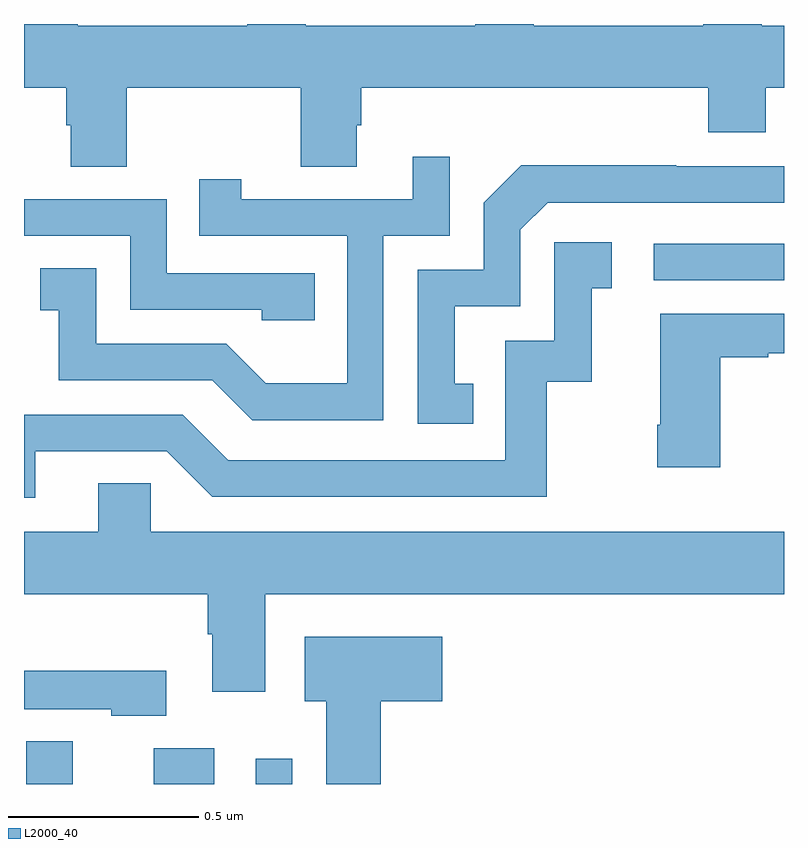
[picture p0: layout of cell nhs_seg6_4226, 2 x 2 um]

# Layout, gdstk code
import gdstk
lib = gdstk.Library(unit=1e-6, precision=1e-09)
def R(c, l, rs):  # rectangles x0, y0, x1, y1
    for r in rs: c.add(gdstk.rectangle(r[:2], r[2:], *l))
def P(c, l, *ps):  # polygons
    for p in ps: c.add(gdstk.Polygon(p, *l))
L2000_40 = (2000, 40)

nhs_seg6_4226 = lib.new_cell('nhs_seg6_4226')
R(nhs_seg6_4226, L2000_40, [(167.006,949.5,167.128,949.612), (167.342,949.5,167.5,949.594), (167.61,949.5,167.706,949.567), (168.657,950.826,169,950.922)])
P(nhs_seg6_4226, L2000_40, [(167.271,951.332),(167.728,951.332),(167.728,951.124),(167.875,951.124),(167.875,951.234),(167.888,951.234),(167.888,951.332),(168.8,951.332),(168.8,951.215),(168.952,951.215),(168.952,951.332),(169,951.332),(169,951.496),(168.942,951.496),(168.942,951.5),(168.787,951.5),(168.787,951.496),(168.342,951.496),(168.342,951.5),(168.187,951.5),(168.187,951.496),(167.742,951.496),(167.742,951.5),(167.587,951.5),(167.587,951.496),(167.142,951.496),(167.142,951.5),(167,951.5),(167,951.332),(167.111,951.332),(167.111,951.234),(167.123,951.234),(167.123,951.124),(167.271,951.124)],
  [(167.946,950.943),(168.12,950.943),(168.12,951.151),(168.023,951.151),(168.023,951.039),(167.572,951.039),(167.572,951.091),(167.461,951.091),(167.461,950.943),(167.85,950.943),(167.85,950.554),(167.636,950.554),(167.532,950.658),(167.19,950.658),(167.19,950.857),(167.043,950.857),(167.043,950.747),(167.092,950.747),(167.092,950.562),(167.495,950.562),(167.6,950.457),(167.946,950.457)],
  [(168.182,950.553),(168.133,950.553),(168.133,950.757),(168.306,950.757),(168.306,950.958),(168.378,951.03),(169,951.03),(169,951.126),(168.716,951.126),(168.716,951.128),(168.308,951.128),(168.21,951.03),(168.21,950.853),(168.036,950.853),(168.036,950.448),(168.182,950.448)],
  [(167.765,950.844),(167.376,950.844),(167.376,951.039),(167,951.039),(167,950.943),(167.28,950.943),(167.28,950.748),(167.625,950.748),(167.625,950.721),(167.765,950.721)],
  [(167.029,950.376),(167.376,950.376),(167.496,950.256),(168.376,950.256),(168.376,950.559),(168.494,950.559),(168.494,950.805),(168.547,950.805),(168.547,950.926),(168.396,950.926),(168.396,950.667),(168.267,950.667),(168.267,950.352),(167.538,950.352),(167.418,950.472),(167,950.472),(167,950.253),(167.029,950.253)],
  [(168.832,950.623),(168.959,950.623),(168.959,950.633),(169,950.633),(169,950.737),(168.674,950.737),(168.674,950.446),(168.667,950.446),(168.667,950.334),(168.832,950.334)],
  [(167.635,950),(169,950),(169,950.164),(167.334,950.164),(167.334,950.291),(167.195,950.291),(167.195,950.164),(167,950.164),(167,950),(167.483,950),(167.483,949.894),(167.495,949.894),(167.495,949.743),(167.635,949.743)],
  [(167.939,949.718),(168.1,949.718),(168.1,949.888),(167.739,949.888),(167.739,949.718),(167.795,949.718),(167.795,949.5),(167.939,949.5)],
  [(167.374,949.798),(167,949.798),(167,949.697),(167.229,949.697),(167.229,949.679),(167.374,949.679)])

lib.write_gds('nhs_seg6_4226.gds')
